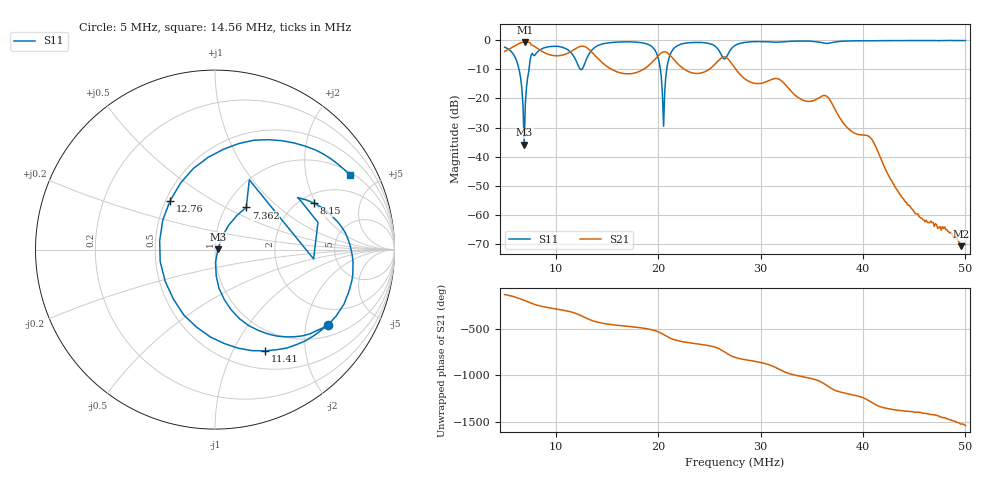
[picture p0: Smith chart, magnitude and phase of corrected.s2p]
! S11/S21 only; reverse parameters are placeholders. Device calibration unverified.
! [Saver CAL applied] C:\Users\aknya\MyProjects\rf-simulator\calibration2.cal | Ideal standards assumed | Input: NanoVNA F V2 profile | COM3 | 2026-09-08T11:33:43.3040462-04:00 | device calibration unverified
# HZ S RI R 50
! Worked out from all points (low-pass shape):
!   401 points, 5 MHz to 50 MHz, reference 50 ohm
!   highest |S21| = -0.63 dB at 7.025 MHz (marker M1); lowest = -70.6 dB at 49.55 MHz (marker M2)
!   |S21| within 3 dB of the highest: 5.154 MHz to 8.535 MHz (3.38 MHz wide, 49.4 % of centre); 11.63 MHz to 13.37 MHz (1.742 MHz wide, 13.9 % of centre)
!   lowest |S11| = -35.9 dB at 6.912 MHz (marker M3), VSWR 1.03, Z = 51.6 + j0.189 ohm
!   |S11| at or under -10 dB: 6.403 MHz to 7.385 MHz (981.9 kHz wide, 14.2 % of centre); 12.4 MHz to 12.56 MHz (158.7 kHz wide, 1.27 % of centre); 20.21 MHz to 20.83 MHz (622.2 kHz wide, 3.03 % of centre)
!   S12 and S22 are empty: the file has one direction only
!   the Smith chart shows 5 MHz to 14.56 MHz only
!   S11 on the Smith chart (normalised r, x): 5 MHz: 1.37, -2.66; 7.362 MHz: 1.24, +0.64; 8.15 MHz: 2.34, +1.93; 11.41 MHz: 0.72, -1.34; 12.76 MHz: 0.53, +0.33; 14.56 MHz: 1.11, +3.55
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5000000  0.6272 -0.4189  -0.345 -0.5385  0 0  0 0
6237500  0.1361 -0.3848  -0.7756 -0.3212  0 0  0 0
6912500  0.016 0.00183  -0.9216 0.0889  0 0  0 0
7025000  0.0397 0.0722  -0.9137 0.1707  0 0  0 0
7362500  0.1743 0.2348  -0.8231 0.3936  0 0  0 0
8150000  0.5512 0.2592  -0.3898 0.6155  0 0  0 0
9837500  0.7542 -0.204  0.0543 0.5387  0 0  0 0
1.14125e7  0.2772 -0.5641  0.3914 0.4874  0 0  0 0
1.25375e7  -0.3082 0.0501  0.7824 0.0695  0 0  0 0
1.27625e7  -0.2499 0.2728  0.7705 -0.0963  0 0  0 0
1.45625e7  0.753 0.4159  0.1144 -0.3901  0 0  0 0
1.805e7  0.8478 -0.34  -0.1416 -0.2474  0 0  0 0
2.0075e7  0.0699 -0.4311  -0.5472 -0.0944  0 0  0 0
2.0525e7  -0.0298 0.0152  -0.6005 0.1781  0 0  0 0
2.10875e7  0.3786 0.3491  -0.3531 0.4402  0 0  0 0
2.3e7  0.894 -0.0996  0.0725 0.2768  0 0  0 0
2.615e7  0.4435 -0.3485  0.4898 -0.023  0 0  0 0
2.75e7  0.7991 -0.1281  0.038 -0.3273  0 0  0 0
3.50375e7  0.6492 -0.6953  0.0642 0.0636  0 0  0 0
4.2575e7  0.443 -0.8728  0.000953 0.00439  0 0  0 0
4.955e7  0.1695 -0.9644  1.37e-05 -0.000294  0 0  0 0
5e7  0.159 -0.9669  -6.35e-05 -0.000307  0 0  0 0
